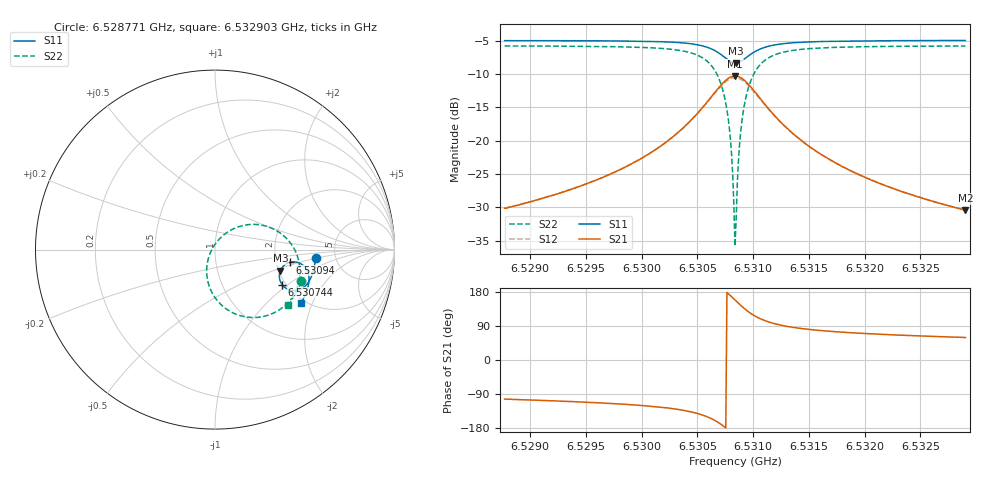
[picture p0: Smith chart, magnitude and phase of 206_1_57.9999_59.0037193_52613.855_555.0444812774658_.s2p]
#  HZ  S  RI  R  50.00
! Rohde & Schwarz Vector Network Analyzer
! Rohde-Schwarz,ZNB20-2Port,1311601062101988,3.16
! Created: UTC 3/21/2024, 12:59:26 AM
! freq[Hz]  re:S11  im:S11  re:S21  im:S21  re:S12  im:S12  re:S22  im:S22
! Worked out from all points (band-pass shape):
!   401 points, 6.528771 GHz to 6.532903 GHz, reference 50 ohm
!   highest |S21| = -10.28 dB at 6.530837 GHz (marker M1); lowest = -30.4 dB at 6.532903 GHz (marker M2)
!   |S21| within 3 dB of the highest: 6.530631 GHz to 6.531044 GHz (413.4 kHz wide, 0.00633 % of centre)
!   lowest |S11| = -8.3 dB at 6.530847 GHz (marker M3), VSWR 2.24, Z = 102 - j28.2 ohm
!   |S11| at or under -10 dB: nowhere
!   |S22| runs from -35.8 to -5.8 dB; largest |S21 - S12| = 0.012
!   S11 on the Smith chart (normalised r, x): 6.528771 GHz: 3.49, -0.50; 6.530744 GHz: 1.91, -0.91; 6.53094 GHz: 2.37, -0.41; 6.532903 GHz: 1.91, -1.66
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6.5287705e9  0.5604 -0.0492  -0.00711 -0.0303  -0.00781 -0.0302  0.4818 -0.1769
6.5294628e9  0.5512 -0.1072  -0.0164 -0.0431  -0.0174 -0.0427  0.4502 -0.2403
6.5301551e9  0.5242 -0.1766  -0.0501 -0.0739  -0.0521 -0.0725  0.3677 -0.3291
6.5303927e9  0.4978 -0.207  -0.0897 -0.0933  -0.0924 -0.0902  0.2867 -0.3682
6.5305684e9  0.4544 -0.227  -0.1576 -0.0999  -0.1601 -0.0933  0.161 -0.373
6.5306717e9  0.4095 -0.2225  -0.227 -0.0736  -0.2263 -0.064  0.0443 -0.3162
6.530744e9  0.3742 -0.1956  -0.2783 -0.0151  -0.2725 -0.00506  -0.0308 -0.208
6.5307853e9  0.3609 -0.1678  -0.2942 0.0378  -0.2852 0.0459  -0.0466 -0.1176
6.530806e9  0.3584 -0.1514  -0.2947 0.0677  -0.2846 0.0742  -0.0415 -0.0681
6.5308267e9  0.3594 -0.1344  -0.2893 0.098  -0.2784 0.1027  -0.0269 -0.0196
6.530837e9  0.3614 -0.1261  -0.2845 0.1129  -0.2733 0.1165  -0.0158 0.00364
6.5308473e9  0.3641 -0.1179  -0.278 0.127  -0.267 0.1297  -0.00255 0.0255
6.5308577e9  0.3678 -0.1102  -0.2702 0.1406  -0.2593 0.1422  0.0126 0.046
6.5308783e9  0.3772 -0.0962  -0.2512 0.1646  -0.2409 0.1645  0.0483 0.0817
6.5308887e9  0.3829 -0.0903  -0.2403 0.1748  -0.2306 0.1741  0.0679 0.0962
6.5309093e9  0.3956 -0.0804  -0.2169 0.1915  -0.2082 0.1895  0.1096 0.119
6.5309403e9  0.4158 -0.0714  -0.18 0.2069  -0.1732 0.2039  0.1731 0.1374
6.5310126e9  0.4586 -0.0709  -0.105 0.2089  -0.1014 0.2058  0.2991 0.1257
6.531116e9  0.4964 -0.0925  -0.0403 0.178  -0.0385 0.1764  0.4032 0.0575
6.5315293e9  0.524 -0.1719  0.0153 0.0861  0.0165 0.0857  0.4729 -0.1351
6.5322215e9  0.5065 -0.2435  0.0176 0.0412  0.0184 0.0409  0.4433 -0.2506
6.5329035e9  0.4811 -0.2951  0.0153 0.0259  0.0159 0.0256  0.4079 -0.3105
